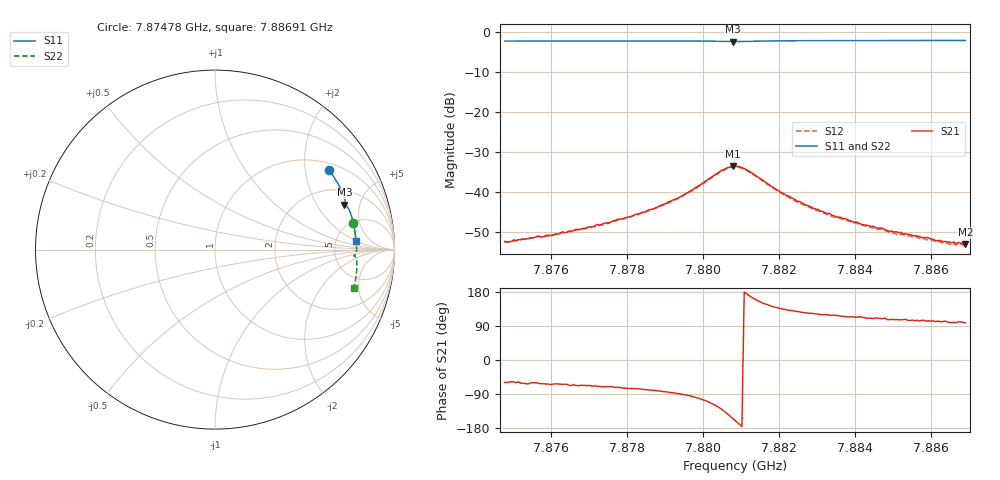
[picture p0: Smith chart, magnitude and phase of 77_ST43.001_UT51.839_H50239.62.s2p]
#  HZ  S  DB  R  50.00
! Rohde & Schwarz Vector Network Analyzer
! Rohde-Schwarz,ZNB20-2Port,1311601062101988,3.16
! Created: UTC 1/12/2023, 6:34:54 PM
! freq[Hz]  db:S11  ang:S11  db:S21  ang:S21  db:S12  ang:S12  db:S22  ang:S22
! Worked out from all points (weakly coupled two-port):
!   201 points, 7.87478 GHz to 7.88691 GHz, reference 50 ohm
!   highest |S21| = -33.57 dB at 7.88079 GHz (marker M1); lowest = -53.1 dB at 7.88691 GHz (marker M2)
!   lowest |S11| = -2.4 dB at 7.88079 GHz (marker M3), VSWR 7.43, Z = 149 + j178 ohm
!   |S11| at or under -10 dB: nowhere
!   |S22| runs from -2.2 to -1.9 dB; largest |S21 - S12| = 0.0014
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7.874783e9  -2.23 35.1  -52.40 -59.1  -52.67 -59.7  -2.14 11.1
7.875996e9  -2.20 31.9  -50.92 -64.9  -50.78 -66.4  -2.11 8.2
7.876845e9  -2.20 29.5  -49.09 -66.8  -49.39 -71.3  -2.08 6.3
7.878119e9  -2.18 26.0  -46.14 -75.2  -46.16 -77.9  -2.06 3.2
7.878847e9  -2.18 24.0  -43.59 -81.4  -43.80 -84.8  -2.06 1.5
7.879454e9  -2.19 22.2  -41.01 -90.4  -41.10 -93.9  -2.06 -0.0
7.880485e9  -2.30 19.5  -34.68 -129.0  -34.91 -132.9  -2.17 -2.3
7.880788e9  -2.35 19.1  -33.57 -153.9  -33.75 -157.1  -2.22 -2.5
7.880849e9  -2.35 19.1  -33.57 -159.3  -33.76 -162.8  -2.23 -2.5
7.881152e9  -2.31 18.9  -34.44 174.9  -34.60 171.6  -2.19 -2.6
7.882001e9  -2.17 16.7  -39.77 136.6  -39.99 134.0  -2.04 -4.4
7.882911e9  -2.13 14.2  -44.12 122.5  -44.29 118.8  -1.98 -6.5
7.883942e9  -2.11 11.4  -47.45 114.3  -47.76 109.7  -1.96 -8.9
7.88473e9  -2.10 9.3  -49.08 108.8  -49.50 106.1  -1.94 -10.6
7.884912e9  -2.10 8.8  -49.90 106.4  -50.04 104.8  -1.94 -11.1
7.885155e9  -2.09 8.2  -50.20 105.9  -50.83 105.7  -1.94 -11.6
7.88558e9  -2.09 7.1  -50.99 103.8  -51.04 102.1  -1.93 -12.5
7.885701e9  -2.09 6.7  -51.17 102.8  -51.65 101.5  -1.93 -12.8
7.886489e9  -2.08 4.7  -52.54 99.4  -53.15 98.5  -1.93 -14.5
7.886671e9  -2.08 4.2  -52.97 98.3  -53.31 97.1  -1.92 -14.9
7.886732e9  -2.08 4.1  -52.65 100.7  -52.89 97.4  -1.92 -15.0
7.886914e9  -2.08 3.6  -53.10 97.8  -53.60 98.0  -1.92 -15.3
